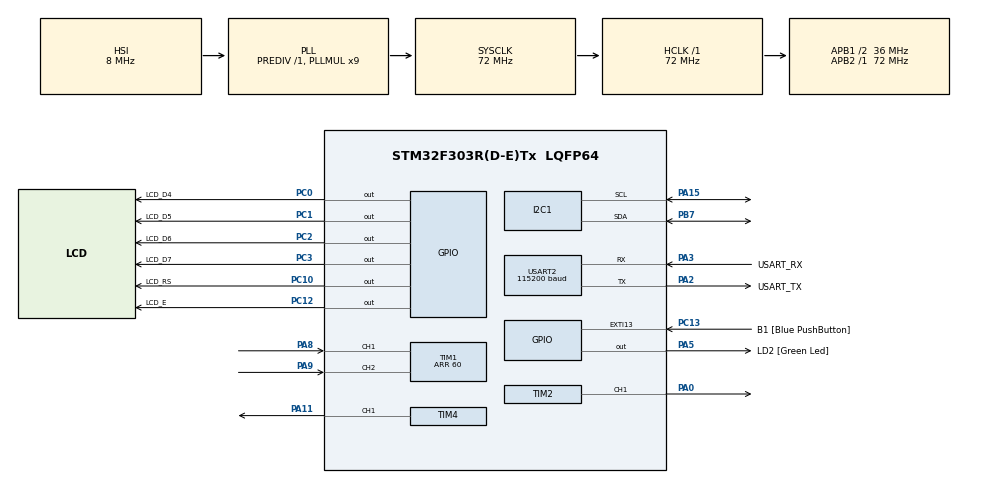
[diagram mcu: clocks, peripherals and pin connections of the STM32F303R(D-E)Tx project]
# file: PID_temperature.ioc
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Mcu.Family=STM32F3
Mcu.Name=STM32F303R(D-E)Tx
Mcu.Package=LQFP64
NVIC.EXTI15_10_IRQn=true\:0\:0\:false\:false\:true\:true\:true
NVIC.PriorityGroup=NVIC_PRIORITYGROUP_0
NVIC.TIM4_IRQn=true\:0\:0\:false\:false\:true\:true\:true
NVIC.USART2_IRQn=true\:0\:0\:false\:false\:true\:true\:true
PA0.Signal=S_TIM2_CH1_ETR
PA11.Signal=S_TIM4_CH1
PA13.GPIO_Label=TMS
PA13.Mode=Serial_Wire
PA13.Signal=SYS_JTMS-SWDIO
PA14.GPIO_Label=TCK
PA14.Mode=Serial_Wire
PA14.Signal=SYS_JTCK-SWCLK
PA15.Mode=I2C
PA15.Signal=I2C1_SCL
PA2.GPIO_Label=USART_TX
PA2.GPIO_Mode=GPIO_MODE_AF_PP
PA2.GPIO_PuPd=GPIO_NOPULL
PA2.GPIO_Speed=GPIO_SPEED_FREQ_LOW
PA2.Mode=Asynchronous
PA2.Signal=USART2_TX
PA3.GPIO_Label=USART_RX
PA3.GPIO_Mode=GPIO_MODE_AF_PP
PA3.GPIO_PuPd=GPIO_NOPULL
PA3.GPIO_Speed=GPIO_SPEED_FREQ_LOW
PA3.Mode=Asynchronous
PA3.Signal=USART2_RX
PA5.GPIO_Label=LD2 [Green Led]
PA5.GPIO_Mode=GPIO_MODE_OUTPUT_PP
PA5.GPIO_PuPd=GPIO_NOPULL
PA5.GPIO_Speed=GPIO_SPEED_FREQ_MEDIUM
PA5.Signal=GPIO_Output
PA8.Signal=S_TIM1_CH1
PA9.Signal=S_TIM1_CH2
PB3.GPIO_Label=SWO
PB3.Signal=SYS_JTDO-TRACESWO
PB7.Mode=I2C
PB7.Signal=I2C1_SDA
PC0.GPIO_Label=LCD_D4
PC0.GPIO_Speed=GPIO_SPEED_FREQ_MEDIUM
PC0.Signal=GPIO_Output
PC1.GPIO_Label=LCD_D5
PC1.GPIO_Speed=GPIO_SPEED_FREQ_MEDIUM
PC1.Signal=GPIO_Output
PC10.GPIO_Label=LCD_RS
PC10.GPIO_Speed=GPIO_SPEED_FREQ_MEDIUM
PC10.Signal=GPIO_Output
PC12.GPIO_Label=LCD_E
PC12.GPIO_Speed=GPIO_SPEED_FREQ_MEDIUM
PC12.Signal=GPIO_Output
PC13.GPIO_Label=B1 [Blue PushButton]
PC13.GPIO_ModeDefaultEXTI=GPIO_MODE_IT_FALLING
PC13.Signal=GPXTI13
PC14-OSC32_IN.Mode=LSE-External-Oscillator
PC14-OSC32_IN.Signal=RCC_OSC32_IN
PC15-OSC32_OUT.Mode=LSE-External-Oscillator
PC15-OSC32_OUT.Signal=RCC_OSC32_OUT
PC2.GPIO_Label=LCD_D6
PC2.GPIO_Speed=GPIO_SPEED_FREQ_MEDIUM
PC2.Signal=GPIO_Output
PC3.GPIO_Label=LCD_D7
PC3.GPIO_Speed=GPIO_SPEED_FREQ_MEDIUM
PC3.Signal=GPIO_Output
PF0-OSC_IN.Mode=HSE-External-Clock-Source
PF0-OSC_IN.Signal=RCC_OSC_IN
PF1-OSC_OUT.Signal=RCC_OSC_OUT
ProjectManager.HeapSize=0x200
ProjectManager.StackSize=0x400
ProjectManager.TargetToolchain=STM32CubeIDE
RCC.AHBFreq_Value=72000000
RCC.APB1CLKDivider=RCC_HCLK_DIV2
RCC.APB1Freq_Value=36000000
RCC.APB1TimFreq_Value=72000000
RCC.APB2Freq_Value=72000000
RCC.APB2TimFreq_Value=72000000
RCC.CortexFreq_Value=72000000
RCC.HCLKFreq_Value=72000000
RCC.HSE_VALUE=8000000
RCC.HSI_VALUE=8000000
RCC.PLLM=8
RCC.PLLMUL=RCC_PLL_MUL9
RCC.PLLN=336
RCC.PLLP=RCC_PLLP_DIV4
RCC.PLLQ=7
RCC.RCC_PLLsource_Clock_Source_FROM_HSE=RCC_HSE_PREDIV_DIV2
RCC.SYSCLKFreq_VALUE=72000000
RCC.SYSCLKSourceVirtual=RCC_SYSCLKSOURCE_PLLCLK
RCC.USBFreq_Value=72000000
SH.S_TIM1_CH1.0=TIM1_CH1,Encoder_Interface
SH.S_TIM1_CH2.0=TIM1_CH2,Encoder_Interface
SH.S_TIM2_CH1_ETR.0=TIM2_CH1,PWM Generation1 CH1
SH.S_TIM4_CH1.0=TIM4_CH1,Output Compare1 CH1
TIM1.EncoderMode=TIM_ENCODERMODE_TI12
TIM1.Period=60
TIM2.AutoReloadPreload=TIM_AUTORELOAD_PRELOAD_ENABLE
TIM2.Channel-PWM\ Generation1\ CH1=TIM_CHANNEL_1
TIM2.Period=999
TIM2.Prescaler=71
TIM2.Pulse-PWM\ Generation1\ CH1=999
TIM4.AutoReloadPreload=TIM_AUTORELOAD_PRELOAD_ENABLE
TIM4.Channel-Output\ Compare1\ CH1=TIM_CHANNEL_1
TIM4.Period=9999
TIM4.Prescaler=7199
USART2.BaudRate=115200
USART2.VirtualMode-Asynchronous=VM_ASYNC
VP_TIM2_VS_ClockSourceINT.Mode=Internal
VP_TIM4_VS_ClockSourceINT.Mode=Internal
board=NUCLEO-F303RE

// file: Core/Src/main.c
/* USER CODE BEGIN Header */
/**
  ******************************************************************************
  * @file           : main.c
  * @brief          : Main program body
  ******************************************************************************
  * @attention
  *
  * <h2><center>&copy; Copyright (c) 2021 STMicroelectronics.
  * All rights reserved.</center></h2>
  *
  * This software component is licensed by ST under BSD 3-Clause license,
  * the "License"; You may not use this file except in compliance with the
  * License. You may obtain a copy of the License at:
  *                        opensource.org/licenses/BSD-3-Clause
  *
  ******************************************************************************
  */
/* USER CODE END Header */
#include "main.h"

/* USER CODE BEGIN Includes */
#include "BMPXX80.h"
#include "lcd16x2.h"
#include "math.h"
/* USER CODE END Includes */

I2C_HandleTypeDef hi2c1;

TIM_HandleTypeDef htim1;
TIM_HandleTypeDef htim2;
TIM_HandleTypeDef htim4;

UART_HandleTypeDef huart2;

/* USER CODE BEGIN PV */
uint8_t display_mode = 0; // 0 - temperature, 1 - setpoint, 2 - control signal
uint8_t prev_display_mode = 0;

//OBJECT PARAMETERS
const float T = 475;
const float tau = 5;
const float k = 4.4;

//SETPOINT
float setpoint = 28.0;

//DIGITAL PI PARAMETERS
float Kp = 0.7*T/(tau*k);
float Ti = tau + 0.3 * T;
float prev_integral = 0;
float prev_error = 0;
float Ts = 1.0;

//FEEDBACK
float temperature;
float prev_temperature;
int prev_heating;

//CONTROL SIGNAL
uint16_t duty;

char buf[50];
uint8_t key[4];

uint8_t encoder_value;
uint8_t prev_encoder_value;

/* USER CODE END PV */

void SystemClock_Config(void);
static void MX_GPIO_Init(void);
static void MX_I2C1_Init(void);
static void MX_TIM2_Init(void);
static void MX_TIM4_Init(void);
static void MX_USART2_UART_Init(void);
static void MX_TIM1_Init(void);

/* USER CODE BEGIN 0 */
void update_display()
  {
	lcd16x2_clear();
	lcd16x2_setCursor(0, 0);

	switch(display_mode)
	{
		case 0:
			lcd16x2_printf("Temperature");

			lcd16x2_setCursor(1, 9);
			lcd16x2_printf("%.1f %cC", temperature, 223); //223 - celsius grad symbol
			break;

		case 1:
			lcd16x2_printf("Setpoint");

			lcd16x2_setCursor(1, 9);
			lcd16x2_printf("%.1f %cC", setpoint, 223);
			break;

		case 2:
			lcd16x2_printf("Heating");

			lcd16x2_setCursor(1, 12);
			char text[2];
			sprintf(text, "%d", duty/10);
			lcd16x2_printf(text);

			lcd16x2_setCursor(1, 15);
			lcd16x2_printf("%c", 37); //% sign - 37 in ASCII table
			break;
	}
  }

/* USER CODE END 0 */

int main(void)
{

  /* MCU Configuration--------------------------------------------------------*/

  /* Reset of all peripherals, Initializes the Flash interface and the Systick. */
  HAL_Init();

  /* Configure the system clock */
  SystemClock_Config();

  /* Initialize all configured peripherals */
  MX_GPIO_Init();
  MX_I2C1_Init();
  MX_TIM2_Init();
  MX_TIM4_Init();
  MX_USART2_UART_Init();
  MX_TIM1_Init();
  /* USER CODE BEGIN 2 */

  BMP280_Init(&hi2c1, 1, 3, 1); //temperature sensor
  HAL_TIM_PWM_Start(&htim2, TIM_CHANNEL_1); //control signal
  HAL_TIM_Base_Start_IT(&htim4); //fixed sampling time Tp = 1sec
  HAL_TIM_Encoder_Start(&htim1, TIM_CHANNEL_ALL);

  lcd16x2_init_4bits(LCD_RS_GPIO_Port, LCD_RS_Pin, LCD_E_Pin,
        LCD_D4_GPIO_Port, LCD_D4_Pin, LCD_D5_Pin, LCD_D6_Pin, LCD_D7_Pin);

  lcd16x2_cursorShow(0);
  update_display();

  /* USER CODE END 2 */

  /* Infinite loop */
  /* USER CODE BEGIN WHILE */
  while (1)
  {

	if((fabs(prev_temperature - temperature) > 0.05) && display_mode == 0)
	{
		 update_display();
		 prev_temperature = temperature;
	}
	else if(prev_heating != (duty/10) && display_mode == 2)
	{
		update_display();
		prev_heating = duty/10;
	}

	else if(prev_display_mode != display_mode)
	{
		prev_display_mode = display_mode;
		update_display();
	}

	encoder_value = __HAL_TIM_GET_COUNTER(&htim1);

	if(encoder_value != prev_encoder_value)
	{
		if(encoder_value > prev_encoder_value - 1)
		{
			setpoint += 0.05;
		}
		else if(encoder_value < prev_encoder_value + 1)
		{
			setpoint -= 0.05;
		}

		if(setpoint > 31.0)
		{
			setpoint = 31.0;
		}
		else if(setpoint < 26.0)
		{
			setpoint = 26.0;
		}

		update_display();

		display_mode = 1;

		prev_encoder_value = encoder_value;
	}

	// RECIEVE A REFERENCE VALUE FOR TEMPERATURE
	HAL_UART_Receive_IT(&huart2, key, 4);

	HAL_Delay(1);

    /* USER CODE END WHILE */

  }
}

void SystemClock_Config(void)
{
  RCC_OscInitTypeDef RCC_OscInitStruct = {0};
  RCC_ClkInitTypeDef RCC_ClkInitStruct = {0};
  RCC_PeriphCLKInitTypeDef PeriphClkInit = {0};

  /** Initializes the RCC Oscillators according to the specified parameters
  * in the RCC_OscInitTypeDef structure.
  */
  RCC_OscInitStruct.OscillatorType = RCC_OSCILLATORTYPE_HSI;
  RCC_OscInitStruct.HSIState = RCC_HSI_ON;
  RCC_OscInitStruct.HSICalibrationValue = RCC_HSICALIBRATION_DEFAULT;
  RCC_OscInitStruct.PLL.PLLState = RCC_PLL_ON;
  RCC_OscInitStruct.PLL.PLLSource = RCC_PLLSOURCE_HSI;
  RCC_OscInitStruct.PLL.PLLMUL = RCC_PLL_MUL9;
  RCC_OscInitStruct.PLL.PREDIV = RCC_PREDIV_DIV1;
  if (HAL_RCC_OscConfig(&RCC_OscInitStruct) != HAL_OK)
  {
    Error_Handler();
  }
  /** Initializes the CPU, AHB and APB buses clocks
  */
  RCC_ClkInitStruct.ClockType = RCC_CLOCKTYPE_HCLK|RCC_CLOCKTYPE_SYSCLK
                              |RCC_CLOCKTYPE_PCLK1|RCC_CLOCKTYPE_PCLK2;
  RCC_ClkInitStruct.SYSCLKSource = RCC_SYSCLKSOURCE_PLLCLK;
  RCC_ClkInitStruct.AHBCLKDivider = RCC_SYSCLK_DIV1;
  RCC_ClkInitStruct.APB1CLKDivider = RCC_HCLK_DIV2;
  RCC_ClkInitStruct.APB2CLKDivider = RCC_HCLK_DIV1;

  if (HAL_RCC_ClockConfig(&RCC_ClkInitStruct, FLASH_LATENCY_2) != HAL_OK)
  {
    Error_Handler();
  }
  PeriphClkInit.PeriphClockSelection = RCC_PERIPHCLK_USART2|RCC_PERIPHCLK_I2C1
                              |RCC_PERIPHCLK_TIM1|RCC_PERIPHCLK_TIM2
                              |RCC_PERIPHCLK_TIM34;
  PeriphClkInit.Usart2ClockSelection = RCC_USART2CLKSOURCE_PCLK1;
  PeriphClkInit.I2c1ClockSelection = RCC_I2C1CLKSOURCE_HSI;
  PeriphClkInit.Tim1ClockSelection = RCC_TIM1CLK_HCLK;
  PeriphClkInit.Tim2ClockSelection = RCC_TIM2CLK_HCLK;
  PeriphClkInit.Tim34ClockSelection = RCC_TIM34CLK_HCLK;
  if (HAL_RCCEx_PeriphCLKConfig(&PeriphClkInit) != HAL_OK)
  {
    Error_Handler();
  }
}

static void MX_I2C1_Init(void)
{

  hi2c1.Instance = I2C1;
  hi2c1.Init.Timing = 0x2000090E;
  hi2c1.Init.OwnAddress1 = 0;
  hi2c1.Init.AddressingMode = I2C_ADDRESSINGMODE_7BIT;
  hi2c1.Init.DualAddressMode = I2C_DUALADDRESS_DISABLE;
  hi2c1.Init.OwnAddress2 = 0;
  hi2c1.Init.OwnAddress2Masks = I2C_OA2_NOMASK;
  hi2c1.Init.GeneralCallMode = I2C_GENERALCALL_DISABLE;
  hi2c1.Init.NoStretchMode = I2C_NOSTRETCH_DISABLE;
  if (HAL_I2C_Init(&hi2c1) != HAL_OK)
  {
    Error_Handler();
  }
  /** Configure Analogue filter
  */
  if (HAL_I2CEx_ConfigAnalogFilter(&hi2c1, I2C_ANALOGFILTER_ENABLE) != HAL_OK)
  {
    Error_Handler();
  }
  /** Configure Digital filter
  */
  if (HAL_I2CEx_ConfigDigitalFilter(&hi2c1, 0) != HAL_OK)
  {
    Error_Handler();
  }

}

static void MX_TIM1_Init(void)
{

  TIM_Encoder_InitTypeDef sConfig = {0};
  TIM_MasterConfigTypeDef sMasterConfig = {0};

  htim1.Instance = TIM1;
  htim1.Init.Prescaler = 0;
  htim1.Init.CounterMode = TIM_COUNTERMODE_UP;
  htim1.Init.Period = 60;
  htim1.Init.ClockDivision = TIM_CLOCKDIVISION_DIV1;
  htim1.Init.RepetitionCounter = 0;
  htim1.Init.AutoReloadPreload = TIM_AUTORELOAD_PRELOAD_DISABLE;
  sConfig.EncoderMode = TIM_ENCODERMODE_TI12;
  sConfig.IC1Polarity = TIM_ICPOLARITY_RISING;
  sConfig.IC1Selection = TIM_ICSELECTION_DIRECTTI;
  sConfig.IC1Prescaler = TIM_ICPSC_DIV1;
  sConfig.IC1Filter = 0;
  sConfig.IC2Polarity = TIM_ICPOLARITY_RISING;
  sConfig.IC2Selection = TIM_ICSELECTION_DIRECTTI;
  sConfig.IC2Prescaler = TIM_ICPSC_DIV1;
  sConfig.IC2Filter = 0;
  if (HAL_TIM_Encoder_Init(&htim1, &sConfig) != HAL_OK)
  {
    Error_Handler();
  }
  sMasterConfig.MasterOutputTrigger = TIM_TRGO_RESET;
  sMasterConfig.MasterOutputTrigger2 = TIM_TRGO2_RESET;
  sMasterConfig.MasterSlaveMode = TIM_MASTERSLAVEMODE_DISABLE;
  if (HAL_TIMEx_MasterConfigSynchronization(&htim1, &sMasterConfig) != HAL_OK)
  {
    Error_Handler();
  }

}

static void MX_TIM2_Init(void)
{

  TIM_ClockConfigTypeDef sClockSourceConfig = {0};
  TIM_MasterConfigTypeDef sMasterConfig = {0};
  TIM_OC_InitTypeDef sConfigOC = {0};

  htim2.Instance = TIM2;
  htim2.Init.Prescaler = 71;
  htim2.Init.CounterMode = TIM_COUNTERMODE_UP;
  htim2.Init.Period = 999;
  htim2.Init.ClockDivision = TIM_CLOCKDIVISION_DIV1;
  htim2.Init.AutoReloadPreload = TIM_AUTORELOAD_PRELOAD_ENABLE;
  if (HAL_TIM_Base_Init(&htim2) != HAL_OK)
  {
    Error_Handler();
  }
  sClockSourceConfig.ClockSource = TIM_CLOCKSOURCE_INTERNAL;
  if (HAL_TIM_ConfigClockSource(&htim2, &sClockSourceConfig) != HAL_OK)
  {
    Error_Handler();
  }
  if (HAL_TIM_PWM_Init(&htim2) != HAL_OK)
  {
    Error_Handler();
  }
  sMasterConfig.MasterOutputTrigger = TIM_TRGO_RESET;
  sMasterConfig.MasterSlaveMode = TIM_MASTERSLAVEMODE_DISABLE;
  if (HAL_TIMEx_MasterConfigSynchronization(&htim2, &sMasterConfig) != HAL_OK)
  {
    Error_Handler();
  }
  sConfigOC.OCMode = TIM_OCMODE_PWM1;
  sConfigOC.Pulse = 999;
  sConfigOC.OCPolarity = TIM_OCPOLARITY_HIGH;
  sConfigOC.OCFastMode = TIM_OCFAST_DISABLE;
  if (HAL_TIM_PWM_ConfigChannel(&htim2, &sConfigOC, TIM_CHANNEL_1) != HAL_OK)
  {
    Error_Handler();
  }
  HAL_TIM_MspPostInit(&htim2);

}

static void MX_TIM4_Init(void)
{

  TIM_ClockConfigTypeDef sClockSourceConfig = {0};
  TIM_MasterConfigTypeDef sMasterConfig = {0};
  TIM_OC_InitTypeDef sConfigOC = {0};

  htim4.Instance = TIM4;
  htim4.Init.Prescaler = 7199;
  htim4.Init.CounterMode = TIM_COUNTERMODE_UP;
  htim4.Init.Period = 9999;
  htim4.Init.ClockDivision = TIM_CLOCKDIVISION_DIV1;
  htim4.Init.AutoReloadPreload = TIM_AUTORELOAD_PRELOAD_ENABLE;
  if (HAL_TIM_Base_Init(&htim4) != HAL_OK)
  {
    Error_Handler();
  }
  sClockSourceConfig.ClockSource = TIM_CLOCKSOURCE_INTERNAL;
  if (HAL_TIM_ConfigClockSource(&htim4, &sClockSourceConfig) != HAL_OK)
  {
    Error_Handler();
  }
  if (HAL_TIM_OC_Init(&htim4) != HAL_OK)
  {
    Error_Handler();
  }
  sMasterConfig.MasterOutputTrigger = TIM_TRGO_RESET;
  sMasterConfig.MasterSlaveMode = TIM_MASTERSLAVEMODE_DISABLE;
  if (HAL_TIMEx_MasterConfigSynchronization(&htim4, &sMasterConfig) != HAL_OK)
  {
    Error_Handler();
  }
  sConfigOC.OCMode = TIM_OCMODE_TIMING;
  sConfigOC.Pulse = 0;
  sConfigOC.OCPolarity = TIM_OCPOLARITY_HIGH;
  sConfigOC.OCFastMode = TIM_OCFAST_DISABLE;
  if (HAL_TIM_OC_ConfigChannel(&htim4, &sConfigOC, TIM_CHANNEL_1) != HAL_OK)
  {
    Error_Handler();
  }
  HAL_TIM_MspPostInit(&htim4);

}

static void MX_USART2_UART_Init(void)
{

  huart2.Instance = USART2;
  huart2.Init.BaudRate = 115200;
  huart2.Init.WordLength = UART_WORDLENGTH_8B;
  huart2.Init.StopBits = UART_STOPBITS_1;
  huart2.Init.Parity = UART_PARITY_NONE;
  huart2.Init.Mode = UART_MODE_TX_RX;
  huart2.Init.HwFlowCtl = UART_HWCONTROL_NONE;
  huart2.Init.OverSampling = UART_OVERSAMPLING_16;
  huart2.Init.OneBitSampling = UART_ONE_BIT_SAMPLE_DISABLE;
  huart2.AdvancedInit.AdvFeatureInit = UART_ADVFEATURE_NO_INIT;
  if (HAL_UART_Init(&huart2) != HAL_OK)
  {
    Error_Handler();
  }

}

static void MX_GPIO_Init(void)
{
  GPIO_InitTypeDef GPIO_InitStruct = {0};

  /* GPIO Ports Clock Enable */
  __HAL_RCC_GPIOC_CLK_ENABLE();
  __HAL_RCC_GPIOF_CLK_ENABLE();
  __HAL_RCC_GPIOA_CLK_ENABLE();
  __HAL_RCC_GPIOB_CLK_ENABLE();

  /*Configure GPIO pin Output Level */
  HAL_GPIO_WritePin(GPIOC, LCD_D4_Pin|LCD_D5_Pin|LCD_D6_Pin|LCD_D7_Pin
                          |LCD_RS_Pin|LCD_E_Pin, GPIO_PIN_RESET);

  /*Configure GPIO pin Output Level */
  HAL_GPIO_WritePin(LD2_GPIO_Port, LD2_Pin, GPIO_PIN_RESET);

  /*Configure GPIO pin : B1_Pin */
  GPIO_InitStruct.Pin = B1_Pin;
  GPIO_InitStruct.Mode = GPIO_MODE_IT_FALLING;
  GPIO_InitStruct.Pull = GPIO_NOPULL;
  HAL_GPIO_Init(B1_GPIO_Port, &GPIO_InitStruct);

  /*Configure GPIO pins : LCD_D4_Pin LCD_D5_Pin LCD_D6_Pin LCD_D7_Pin
                           LCD_RS_Pin LCD_E_Pin */
  GPIO_InitStruct.Pin = LCD_D4_Pin|LCD_D5_Pin|LCD_D6_Pin|LCD_D7_Pin
                          |LCD_RS_Pin|LCD_E_Pin;
  GPIO_InitStruct.Mode = GPIO_MODE_OUTPUT_PP;
  GPIO_InitStruct.Pull = GPIO_NOPULL;
  GPIO_InitStruct.Speed = GPIO_SPEED_FREQ_MEDIUM;
  HAL_GPIO_Init(GPIOC, &GPIO_InitStruct);

  /*Configure GPIO pin : LD2_Pin */
  GPIO_InitStruct.Pin = LD2_Pin;
  GPIO_InitStruct.Mode = GPIO_MODE_OUTPUT_PP;
  GPIO_InitStruct.Pull = GPIO_NOPULL;
  GPIO_InitStruct.Speed = GPIO_SPEED_FREQ_MEDIUM;
  HAL_GPIO_Init(LD2_GPIO_Port, &GPIO_InitStruct);

  /* EXTI interrupt init*/
  HAL_NVIC_SetPriority(EXTI15_10_IRQn, 0, 0);
  HAL_NVIC_EnableIRQ(EXTI15_10_IRQn);

}

/* USER CODE BEGIN 4 */
void PID()
{
	temperature = BMP280_ReadTemperature();
	float error = setpoint - temperature;
	float u;

	//P
	float P = Kp * error;

	//I
	float integral = (error + prev_error + prev_integral);
	float I = Kp/Ti * Ts/2 * integral;
	prev_integral = integral;

	prev_error = error;

	u = P + I;

	duty = (uint16_t)(1000.0*u);

	if (duty>999)
	{
		duty = 999;
	}

	//__HAL_TIM_SET_COMPARE(&htim2, TIM_CHANNEL_1, duty);
	htim2.Instance->CCR1 = duty;
}

void HAL_TIM_PeriodElapsedCallback(TIM_HandleTypeDef *htim)
{
	if(htim-> Instance == TIM4)
	{
		PID();

		sprintf(buf, "%.2f, %.1f, %d\n\r", temperature, setpoint,duty/10);
		HAL_UART_Transmit(&huart2, buf, strlen(buf), 50);
	}
}
//RECEIVE SETPOINT VALUE VIA UART
void HAL_UART_RxCpltCallback(UART_HandleTypeDef *huart)
{
	setpoint = (key[0]-48) * 10.0 + (key[1]-48) * 1.0 + (key[3]-48) * 0.1;

	lcd16x2_printf("Setpoint");
	lcd16x2_setCursor(1, 9);
	lcd16x2_printf("%.1f %cC", setpoint, 223);
	//update_display();
	display_mode = 1;
}
//USER BUTTON INTERRUPT - DISPLAY MODE CHANGE
void HAL_GPIO_EXTI_Callback(uint16_t GPIO_Pin)
{
	if (GPIO_Pin == B1_Pin)
	{
		//sprintf(buf, "%Aktualna temperatura: %.1f%cC\r", temperature, 176);
		//HAL_UART_Transmit(&huart2, buf, strlen(buf), 50);
		display_mode += 1;
		display_mode = display_mode % 3;
	}
}

/* USER CODE END 4 */

void Error_Handler(void)
{
  __disable_irq();
  while (1)
  {
  }
}

/************************ (C) COPYRIGHT STMicroelectronics *****END OF FILE****/
